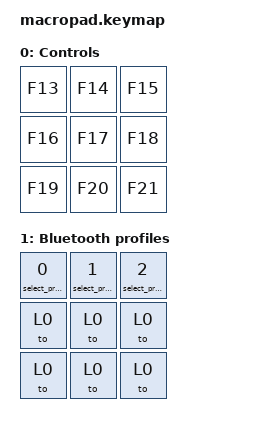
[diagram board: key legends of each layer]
// This file was generated from a template. Edit it to match your keyboard.
// See https://zmk.dev/docs/development/hardware-integration/new-shield for more instructions.

#include <behaviors.dtsi>
#include <dt-bindings/zmk/bt.h>
#include <dt-bindings/zmk/keys.h>

/ {
    behaviors {
        profile_mode: profile_mode {
            compatible = "zmk,behavior-sticky-key";
            #binding-cells = <1>;
            display-name = "Profile selection timeout";
            release-after-ms = <2000>;
            bindings = <&mo>;
            quick-release;
        };

        profile_controls: profile_controls {
            compatible = "zmk,behavior-hold-tap";
            #binding-cells = <2>;
            // Combo timestamps start at the first press; allow its 100 ms window.
            tapping-term-ms = <3100>;
            flavor = "tap-preferred";
            bindings = <&forget_selected>, <&open_profiles>;
        };
    };

    macros {
        open_profiles: open_profiles {
            compatible = "zmk,behavior-macro";
            #binding-cells = <0>;
            display-name = "Open Bluetooth profiles";
            wait-ms = <0>;
            tap-ms = <0>;
            // Queue activation so the selection timeout starts on combo release.
            bindings = <&profile_mode 1>;
        };

        select_profile: select_profile {
            compatible = "zmk,behavior-macro-one-param";
            #binding-cells = <1>;
            display-name = "Select Bluetooth profile";
            wait-ms = <0>;
            tap-ms = <0>;
            bindings = <&macro_param_1to2 &bt BT_SEL 0>, <&to 0>;
        };

        forget_selected: forget_selected {
            compatible = "zmk,behavior-macro";
            #binding-cells = <0>;
            display-name = "Forget selected Bluetooth profile";
            wait-ms = <0>;
            tap-ms = <0>;
            bindings = <&bt BT_CLR>, <&to 0>;
        };
    };

    combos {
        compatible = "zmk,combos";

        studio_unlock_combo {
            timeout-ms = <50>;
            key-positions = <0 8>;
            bindings = <&studio_unlock>;
        };

        profile_controls_combo {
            timeout-ms = <100>;
            key-positions = <3 4 5>;
            bindings = <&profile_controls 0 0>;
        };
    };

    // Define a default keymap here.
    // See https://zmk.dev/docs/development/hardware-integration/new-shield#default-keymap.
    keymap {
        compatible = "zmk,keymap";

        default_layer {
            display-name = "Controls";
            bindings = <
                &kp F13 &kp F14 &kp F15
                &kp F16 &kp F17 &kp F18
                &kp F19 &kp F20 &kp F21
            >;
        };

        profile_selection_layer {
            display-name = "Bluetooth profiles";
            bindings = <
                &select_profile 0 &select_profile 1 &select_profile 2
                &to 0            &to 0            &to 0
                &to 0            &to 0            &to 0
            >;
        };
    };
};
